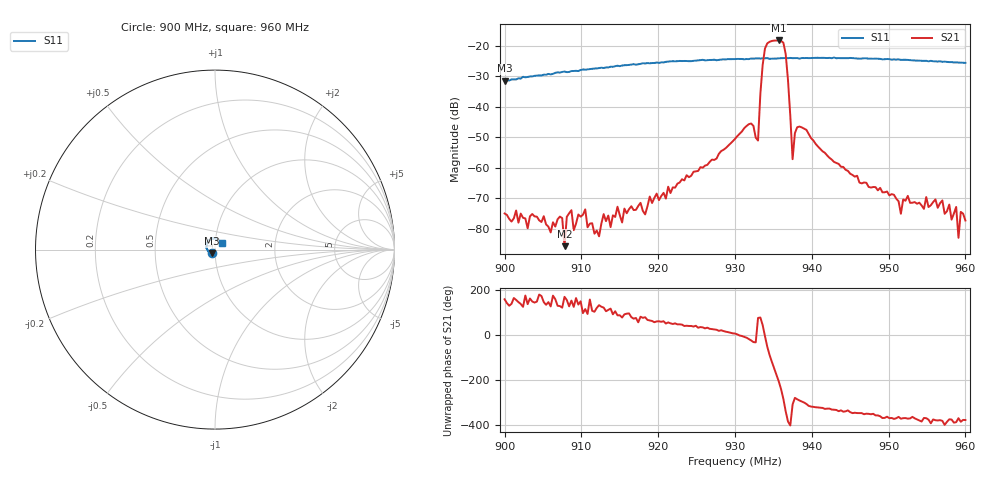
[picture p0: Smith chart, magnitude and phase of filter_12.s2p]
!File created by NanoVNA-F V2
# Hz S RI R 50
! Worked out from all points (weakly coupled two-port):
!   201 points, 900 MHz to 960 MHz, reference 50 ohm
!   highest |S21| = -18.27 dB at 935.7 MHz (marker M1); lowest = -85.7 dB at 907.8 MHz (marker M2)
!   lowest |S11| = -31.5 dB at 900 MHz (marker M3), VSWR 1.05, Z = 48.4 - j2.1 ohm
!   |S11| at or under -10 dB: start of sweep to end of sweep
!   S12 and S22 are empty: the file has one direction only
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9e8  -0.0154 -0.0217  -0.000167 6e-05  0 0  0 0
9.078e8  -0.0361 -0.011  -5.1e-05 8e-06  0 0  0 0
9.102e8  -0.0404 -0.00633  -2.5e-05 0.000167  0 0  0 0
9.138e8  -0.0452 0.00399  -5.1e-05 9.3e-05  0 0  0 0
9.147e8  -0.0466 0.0058  5e-06 0.000229  0 0  0 0
9.153e8  -0.0468 0.00674  2.4e-05 0.000124  0 0  0 0
9.201e8  -0.0469 0.0234  0.000137 0.00026  0 0  0 0
9.3e8  -0.0368 0.0478  0.00294 0.000393  0 0  0 0
9.321e8  -0.0317 0.0528  0.00488 -0.00207  0 0  0 0
9.33e8  -0.0297 0.0543  0.000622 0.00272  0 0  0 0
9.333e8  -0.0287 0.0546  0.00305 0.0158  0 0  0 0
9.339e8  -0.027 0.0559  0.0896 -0.00575  0 0  0 0
9.357e8  -0.0229 0.0579  -0.1102 0.0525  0 0  0 0
9.366e8  -0.0211 0.0593  0.068 0.0269  0 0  0 0
9.375e8  -0.0183 0.0598  0.000848 0.00109  0 0  0 0
9.381e8  -0.0163 0.0606  0.00117 0.00446  0 0  0 0
9.402e8  -0.0112 0.062  0.0021 0.00185  0 0  0 0
9.501e8  0.0181 0.0575  0.000347 -5.4e-05  0 0  0 0
9.516e8  0.0213 0.0547  0.000172 -3.4e-05  0 0  0 0
9.525e8  0.0232 0.0538  0.000339 -6.5e-05  0 0  0 0
9.549e8  0.0287 0.0488  0.000326 -5.1e-05  0 0  0 0
9.6e8  0.0381 0.0359  0.00013 -4e-05  0 0  0 0
